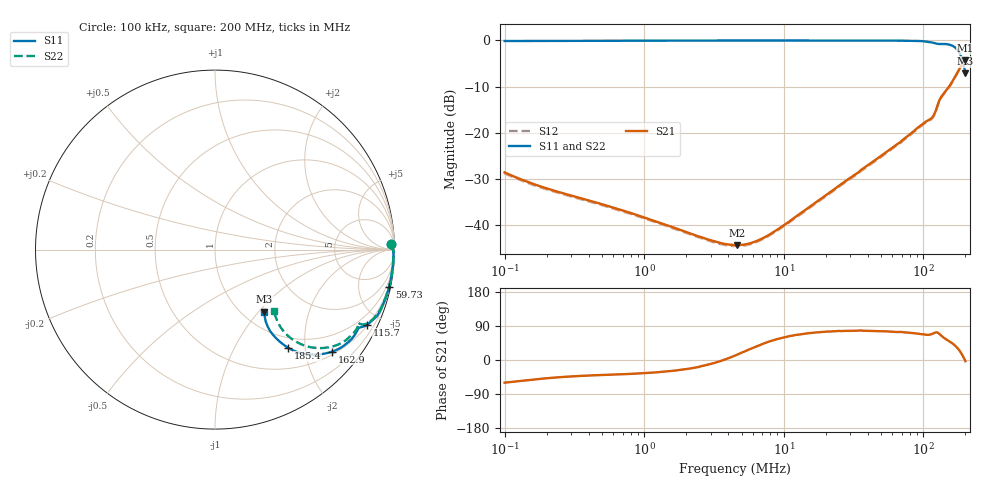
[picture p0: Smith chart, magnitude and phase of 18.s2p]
#  HZ  S  RI  R  50.00
! Rohde & Schwarz Vector Network Analyzer
! Rohde-Schwarz,ZNLE6-2Port,1323001256200024,1.71.1.10-23.02.1.238
! Created: UTC 4/8/2025, 3:43:55 AM
! freq[Hz]  re:S11  im:S11  re:S21  im:S21  re:S12  im:S12  re:S22  im:S22
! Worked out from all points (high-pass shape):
!   1001 points, 100 kHz to 200 MHz, reference 50 ohm
!   highest |S21| = -4.32 dB at 200 MHz (marker M1); lowest = -44.3 dB at 4.61 MHz (marker M2)
!   |S21| within 3 dB of the highest: 172.9 MHz to end of sweep
!   lowest |S11| = -7.1 dB at 200 MHz (marker M3), VSWR 2.58, Z = 62.3 - j53.4 ohm
!   |S11| at or under -10 dB: nowhere
!   |S22| runs from -6.5 to 0.0 dB; largest |S21 - S12| = 0.0074
!   S11 on the Smith chart (normalised r, x): 100 kHz: 26, +47; 59.73 MHz: 0.35, -9.46; 115.7 MHz: 0.53, -4.20; 162.9 MHz: 0.57, -2.56; 185.4 MHz: 0.82, -1.68; 200 MHz: 1.25, -1.07
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100000  0.9815 0.0319  0.0188 -0.0322  0.0183 -0.0314  0.982 0.031
175499.6  0.983 0.0199  0.0171 -0.0204  0.0167 -0.0199  0.9835 0.0195
355854.1  0.9856 0.0121  0.0145 -0.013  0.0141 -0.0127  0.9861 0.0118
1266322  0.9909 0.00259  0.00911 -0.00572  0.00888 -0.00559  0.9912 0.00274
3058183  0.9931 -0.00702  0.00671 -0.00114  0.00652 -0.00116  0.9936 -0.00552
4472136  0.9937 -0.0124  0.00597 0.00123  0.00582 0.00113  0.9944 -0.0107
4610193  0.9939 -0.0129  0.00591 0.00145  0.00578 0.00133  0.9944 -0.0113
5747103  0.9943 -0.0172  0.00557 0.0031  0.0055 0.00291  0.9945 -0.0151
7441903  0.9942 -0.023  0.00528 0.00535  0.00519 0.00518  0.9946 -0.0217
1.591428e7  0.9937 -0.053  0.00521 0.0156  0.00524 0.0152  0.9941 -0.05
3.130247e7  0.9889 -0.1065  0.00771 0.0332  0.00756 0.0323  0.9897 -0.1011
5.663162e7  0.973 -0.1965  0.0165 0.0626  0.0171 0.0605  0.9752 -0.1862
5.972638e7  0.9704 -0.2071  0.0183 0.0662  0.0178 0.0645  0.9725 -0.1972
9.281667e7  0.9238 -0.3343  0.0413 0.108  0.0421 0.1047  0.9293 -0.3192
1.15706e8  0.8465 -0.4202  0.0529 0.1365  0.0532 0.1327  0.8521 -0.4091
1.286975e8  0.7999 -0.437  0.072 0.2023  0.0719 0.1969  0.7991 -0.4069
1.464495e8  0.7562 -0.5028  0.1705 0.2346  0.1686 0.2289  0.7724 -0.4644
1.628929e8  0.6528 -0.5684  0.2694 0.2504  0.2665 0.2442  0.6847 -0.5299
1.757569e8  0.5263 -0.5848  0.3846 0.2329  0.3805 0.2278  0.5673 -0.5481
1.853616e8  0.4075 -0.5468  0.4898 0.1754  0.484 0.1709  0.459 -0.5172
1.925417e8  0.3234 -0.4754  0.5611 0.0922  0.5552 0.0896  0.3801 -0.4523
2e8  0.274 -0.3454  0.6071 -0.0328  0.6012 -0.036  0.329 -0.3414
